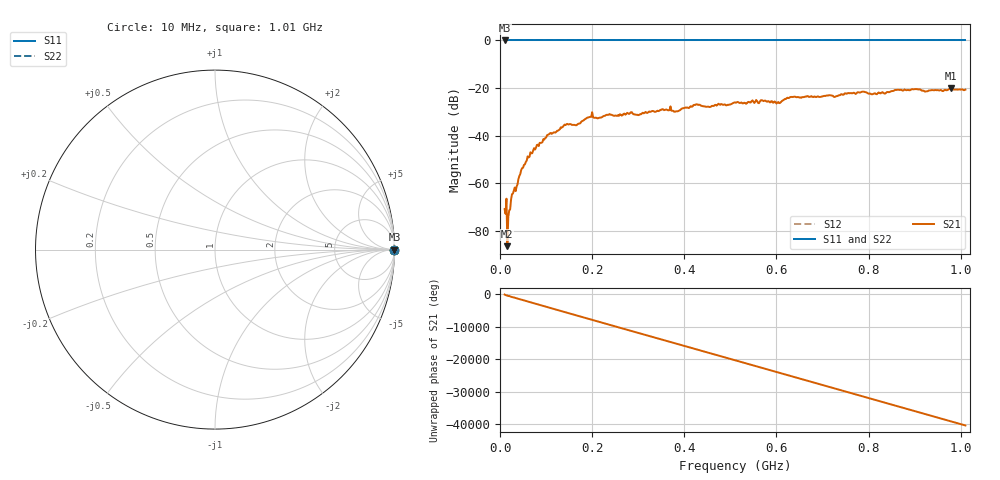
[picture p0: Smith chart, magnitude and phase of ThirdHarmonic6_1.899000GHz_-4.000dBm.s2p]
! 8/16/2025 10:55:10 PM
! C:\ANRITSUVNA\TEMP\TEMP.S2P
! CHANNEL.1
! TR.MEASUREMENT
! RAW.DATA
! RF.CORRECTION.OFF
! AVERAGING.OFF
! IF.BANDWIDTH: 5KHZ
! SWEEPTYPE:  FREQ.SWEEP(Linear)
! Reference Plane Port Info
! PORT:  PORT1  PORT2
! DISTANCE:  0  m  0  m
! TIME:  0  s  0  s
! PHASE.OFFSET:  0  deg.  0  deg.
! LOSS:  0  dB  0  dB
! REF.LOSS:  0  dB  0  dB
! REF.FREQ:  0  Hz  0  Hz
! Power Info
! POWER:  -20  dBm  -20  dBm
! EFF.POWER:  -20  dBm  -20  dBm
! SOURCE.ATTEN:  0  dB  0  dB
! TEST.ATTEN:  0  dB  0  dB
# GHZ S RI R 50.0
! FREQ.GHZ  S11RE  S11IM  S21RE  S21IM  S12RE  S12IM  S22RE  S22IM
!; PortSelection: Port_12
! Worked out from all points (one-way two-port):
!   501 points, 10 MHz to 1.01 GHz, reference 50 ohm
!   highest |S21| = -20.17 dB at 978 MHz (marker M1); lowest = -86.5 dB at 16 MHz (marker M2)
!   lowest |S11| = 0.0 dB at 10 MHz (marker M3)
!   |S11| at or under -10 dB: nowhere
!   |S22| runs from 0.0 to 0.0 dB; largest |S21 - S12| = 1.1
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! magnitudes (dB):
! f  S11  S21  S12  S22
! 10 MHz  0.0  -70.9  0.0  0.0
! 16 MHz  0.0  -86.5  0.0  0.0
! 20 MHz  0.0  -71.5  0.0  0.0
! 28 MHz  0.0  -64.4  0.0  0.0
! 38 MHz  0.0  -60.5  0.0  0.0
! 44 MHz  0.0  -56.1  0.0  0.0
! 70 MHz  0.0  -47.4  0.0  0.0
! 106 MHz  0.0  -39.5  0.0  0.0
! 142 MHz  0.0  -35.6  0.0  0.0
! 178 MHz  0.0  -33.9  0.0  0.0
! 196 MHz  0.0  -32.1  0.0  0.0
! 344 MHz  0.0  -29.7  0.0  0.0
! 382 MHz  0.0  -29.8  0.0  0.0
! 424 MHz  0.0  -27.1  0.0  0.0
! 452 MHz  0.0  -27.8  0.0  0.0
! 510 MHz  0.0  -26.0  0.0  0.0
! 604 MHz  0.0  -25.9  0.0  0.0
! 634 MHz  0.0  -23.8  0.0  0.0
! 678 MHz  0.0  -23.7  0.0  0.0
! 844 MHz  0.0  -21.8  0.0  0.0
! 978 MHz  0.0  -20.2  0.0  0.0
! 1.01 GHz  0.0  -20.7  0.0  0.0
